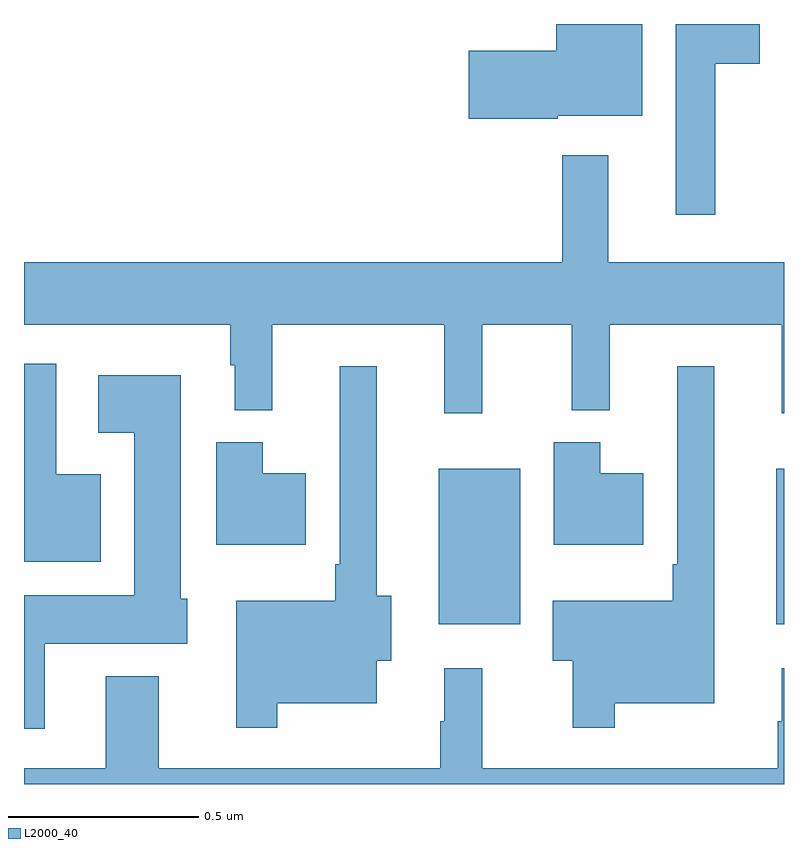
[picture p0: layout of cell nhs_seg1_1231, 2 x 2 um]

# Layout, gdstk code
import gdstk
lib = gdstk.Library(unit=1e-6, precision=1e-09)
def R(c, l, rs):  # rectangles x0, y0, x1, y1
    for r in rs: c.add(gdstk.rectangle(r[:2], r[2:], *l))
def P(c, l, *ps):  # polygons
    for p in ps: c.add(gdstk.Polygon(p, *l))
L2000_40 = (2000, 40)

nhs_seg1_1231 = lib.new_cell('nhs_seg1_1231')
R(nhs_seg1_1231, L2000_40, [(127.091,541.619,127.306,542.029), (127.979,541.619,128,542.029)])
P(nhs_seg1_1231, L2000_40, [(127.819,543.095),(127.936,543.095),(127.936,543.199),(127.715,543.199),(127.715,542.697),(127.819,542.697)],
  [(127.404,542.957),(127.627,542.957),(127.627,543.199),(127.4,543.199),(127.4,543.128),(127.17,543.128),(127.17,542.95),(127.404,542.95)],
  [(127.206,542.408),(127.441,542.408),(127.441,542.183),(127.541,542.183),(127.541,542.408),(127.994,542.408),(127.994,542.175),(128,542.175),(128,542.572),(127.537,542.572),(127.537,542.854),(127.416,542.854),(127.416,542.572),(126,542.572),(126,542.408),(126.543,542.408),(126.543,542.301),(126.554,542.301),(126.554,542.183),(126.653,542.183),(126.653,542.408),(127.106,542.408),(127.106,542.175),(127.206,542.175)],
  [(126.202,542.014),(126.085,542.014),(126.085,542.305),(126,542.305),(126,541.784),(126.202,541.784)],
  [(126.667,541.412),(126.928,541.412),(126.928,541.523),(126.967,541.523),(126.967,541.694),(126.928,541.694),(126.928,542.299),(126.831,542.299),(126.831,541.777),(126.819,541.777),(126.819,541.681),(126.558,541.681),(126.558,541.347),(126.667,541.347)],
  [(127.555,541.412),(127.816,541.412),(127.816,542.299),(127.719,542.299),(127.719,541.777),(127.707,541.777),(127.707,541.681),(127.392,541.681),(127.392,541.523),(127.444,541.523),(127.444,541.347),(127.555,541.347)],
  [(126.055,541.568),(126.43,541.568),(126.43,541.686),(126.412,541.686),(126.412,542.275),(126.195,542.275),(126.195,542.123),(126.29,542.123),(126.29,541.696),(126,541.696),(126,541.344),(126.055,541.344)],
  [(126.742,542.017),(126.628,542.017),(126.628,542.098),(126.506,542.098),(126.506,541.829),(126.742,541.829)],
  [(127.63,542.017),(127.516,542.017),(127.516,542.098),(127.394,542.098),(127.394,541.829),(127.63,541.829)],
  [(128,541.504),(127.994,541.504),(127.994,541.364),(127.983,541.364),(127.983,541.24),(127.206,541.24),(127.206,541.504),(127.106,541.504),(127.106,541.364),(127.095,541.364),(127.095,541.24),(126.355,541.24),(126.355,541.483),(126.215,541.483),(126.215,541.24),(126,541.24),(126,541.199),(128,541.199)])

lib.write_gds('nhs_seg1_1231.gds')
